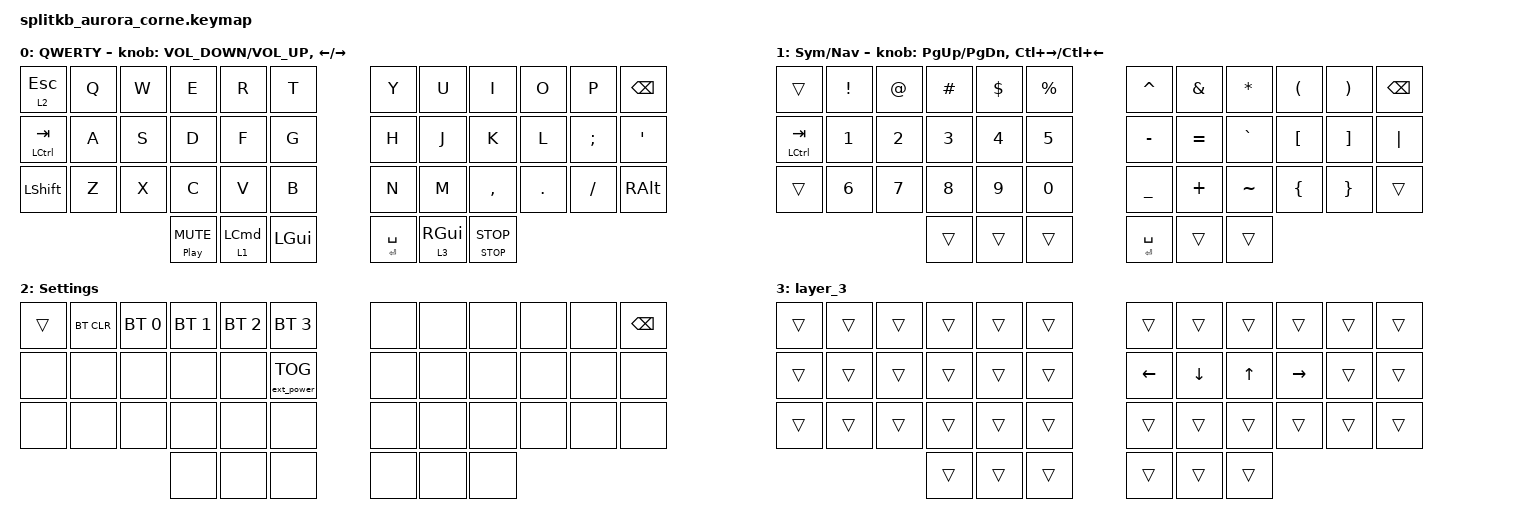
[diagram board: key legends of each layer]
#include <behaviors.dtsi>
#include <dt-bindings/zmk/bt.h>
#include <dt-bindings/zmk/ext_power.h>
#include <dt-bindings/zmk/keys.h>

// layers
// keys

#define HYPER LS(LC(LA(LGUI)))

/ {
    conditional_layers {
        compatible = "zmk,conditional-layers";
    };

    macros {
        Red_Heart: Red_Heart {
            compatible = "zmk,behavior-macro";
            #binding-cells = <0>;
            bindings = <&kp LT &kp N3 &kp SPACE>;
            label = "RED_HEART";
        };

        Heart_Eyes: Heart_Eyes {
            compatible = "zmk,behavior-macro";
            #binding-cells = <0>;
            bindings = <&kp COLON &kp H &kp E &kp A &kp R &kp T &kp UNDER &kp E &kp Y &kp E &kp S &kp COLON &kp SPACE>;
            label = "HEART_EYES";
        };

        Broken_Heart: Broken_Heart {
            compatible = "zmk,behavior-macro";
            #binding-cells = <0>;
            bindings = <&kp LT &kp FSLH &kp N3 &kp SPACE>;
            label = "BROKEN_HEART";
        };

        Face_with_Tears_of_Joy: Face_with_Tears_of_Joy {
            compatible = "zmk,behavior-macro";
            #binding-cells = <0>;
            bindings = <&kp COLON &kp J &kp O &kp Y &kp COLON &kp SPACE>;
            label = "FACE_WITH_TEARS_OF_JOY";
        };

        Smiling_Face: Smiling_Face {
            compatible = "zmk,behavior-macro";
            #binding-cells = <0>;
            bindings = <&kp COLON &kp RPAR &kp SPACE>;
            label = "SMILING_FACE";
        };

        ROFL: ROFL {
            compatible = "zmk,behavior-macro";
            #binding-cells = <0>;
            bindings = <&kp COLON &kp R &kp O &kp L &kp L &kp I &kp N &kp G &kp UNDER &kp O &kp N &kp UNDER &kp T &kp H &kp E &kp UNDER &kp F &kp L &kp O &kp O &kp R &kp UNDER &kp L &kp A &kp U &kp G &kp H &kp I &kp N &kp G &kp COLON &kp SPACE>;
            label = "ROFL";
        };

        Thumbs_up: Thumbs_up {
            compatible = "zmk,behavior-macro";
            #binding-cells = <0>;
            bindings = <&kp COLON &kp PLUS &kp N1 &kp COLON &kp SPACE>;
            label = "THUMBS_UP";
        };

        Thumbs_Down: Thumbs_Down {
            compatible = "zmk,behavior-macro";
            #binding-cells = <0>;
            bindings = <&kp COLON &kp MINUS &kp N1 &kp COLON &kp SPACE>;
            label = "THUMBS_DOWN";
        };

        Crossed_Fingers: Crossed_Fingers {
            compatible = "zmk,behavior-macro";
            #binding-cells = <0>;
            bindings = <&kp COLON &kp C &kp R &kp O &kp S &kp S &kp E &kp D &kp UNDER &kp F &kp I &kp N &kp G &kp E &kp R &kp S &kp COLON &kp SPACE>;
            label = "CROSSED_FINGERS";
        };

        Party_Popper: Party_Popper {
            compatible = "zmk,behavior-macro";
            #binding-cells = <0>;
            bindings = <&kp COLON &kp T &kp A &kp D &kp A &kp COLON &kp SPACE>;
            label = "PARTY_POPPER";
        };

        Birthday_Cake: Birthday_Cake {
            compatible = "zmk,behavior-macro";
            #binding-cells = <0>;
            bindings = <&kp COLON &kp B &kp I &kp R &kp T &kp H &kp D &kp A &kp Y &kp COLON &kp SPACE>;
            label = "BIRTHDAY_CAKE";
        };

        Party_Face: Party_Face {
            compatible = "zmk,behavior-macro";
            #binding-cells = <0>;
            bindings = <&kp COLON &kp P &kp A &kp R &kp T &kp Y &kp I &kp N &kp G &kp UNDER &kp F &kp A &kp C &kp E &kp COLON &kp SPACE>;
            label = "PARTY_FACE";
        };

        Star: Star {
            compatible = "zmk,behavior-macro";
            #binding-cells = <0>;
            bindings = <&kp COLON &kp S &kp T &kp A &kp R &kp COLON &kp SPACE>;
            label = "STAR";
        };

        Fire: Fire {
            compatible = "zmk,behavior-macro";
            #binding-cells = <0>;
            bindings = <&kp COLON &kp F &kp I &kp R &kp E &kp COLON &kp SPACE>;
            label = "FIRE";
        };

        Rainbow: Rainbow {
            compatible = "zmk,behavior-macro";
            #binding-cells = <0>;
            bindings = <&kp COLON &kp R &kp A &kp I &kp N &kp B &kp O &kp W &kp COLON &kp SPACE>;
            label = "RAINBOW";
        };

        Crying_face: Crying_face {
            compatible = "zmk,behavior-macro";
            #binding-cells = <0>;
            bindings = <&kp COLON &kp C &kp R &kp Y &kp COLON &kp SPACE>;
            label = "CRYING_FACE";
        };

        Angry_Face: Angry_Face {
            compatible = "zmk,behavior-macro";
            #binding-cells = <0>;
            bindings = <&kp COLON &kp R &kp A &kp G &kp E &kp COLON &kp SPACE>;
            label = "ANGRY_FACE";
        };

        Thinking_Face: Thinking_Face {
            compatible = "zmk,behavior-macro";
            #binding-cells = <0>;
            bindings = <&kp COLON &kp T &kp H &kp I &kp N &kp K &kp I &kp N &kp G &kp UNDER &kp F &kp A &kp C &kp E &kp COLON &kp SPACE>;
            label = "THINKING_FACE";
        };

        next_desktop: next_desktop {
            compatible = "zmk,behavior-macro";
            #binding-cells = <0>;
            bindings = <&kp LEFT_CONTROL &kp RIGHT>;
            label = "NEXT_DESKTOP";
        };

        previous_desktop: previous_desktop {
            compatible = "zmk,behavior-macro";
            #binding-cells = <0>;
            bindings = <&kp LEFT_CONTROL &kp LEFT>;
            label = "PREVIOUS_DESKTOP";
        };
    };

    behaviors {
        ht: hold_tap {
            compatible = "zmk,behavior-hold-tap";
            label = "HOLD_TAP";
            #binding-cells = <2>;
            tapping-term-ms = <200>;
            quick_tap_ms = <0>;
            flavor = "tap-preferred";
            bindings = <&kp>, <&kp>;
        };

        rotary_desktop_move: rotary_desktop_move {
            compatible = "zmk,behavior-sensor-rotate";
            label = "ROTARY_DESKTOP_MOVE";
            #sensor-binding-cells = <0>;
            bindings = <&next_desktop>, <&previous_desktop>;
        };

        sensor_rotate_var: sensor_rotate_var {
            compatible = "zmk,behavior-sensor-rotate-var";
            label = "SENSOR_ROTATE_VAR";
            #sensor-binding-cells = <2>;
            bindings = <&kp>, <&kp>;
        };
    };

    keymap {
        compatible = "zmk,keymap";

        QWERTY {
            bindings = <
&lt 2 ESCAPE    &kp Q  &kp W  &kp E                    &kp R       &kp T       &kp Y            &kp U            &kp I              &kp O    &kp P          &kp BACKSPACE
&ht LCTRL TAB   &kp A  &kp S  &kp D                    &kp F       &kp G       &kp H            &kp J            &kp K              &kp L    &kp SEMICOLON  &kp SQT
&kp LEFT_SHIFT  &kp Z  &kp X  &kp C                    &kp V       &kp B       &kp N            &kp M            &kp COMMA          &kp DOT  &kp FSLH       &kp RIGHT_ALT
                              &ht C_PLAY_PAUSE C_MUTE  &lt 1 LCMD  &kp LGUI    &ht ENTER SPACE  &lt 3 RIGHT_GUI  &ht C_STOP C_STOP
            >;

            sensor-bindings =
                <&inc_dec_kp K_VOLUME_DOWN K_VOLUME_UP>,
                <&inc_dec_kp LEFT_ARROW RIGHT_ARROW>;

            label = "QWERTY";
        };

        sym-nav {
            bindings = <
&trans         &kp EXCLAMATION  &kp AT_SIGN   &kp HASH      &kp DOLLAR    &kp PERCENT    &kp CARET        &kp AMPERSAND  &kp ASTERISK  &kp LEFT_PARENTHESIS  &kp RIGHT_PARENTHESIS  &kp BSPC
&ht LCTRL TAB  &kp NUMBER_1     &kp NUMBER_2  &kp NUMBER_3  &kp NUMBER_4  &kp N5         &kp MINUS        &kp EQUAL      &kp GRAVE     &kp LEFT_BRACKET      &kp RIGHT_BRACKET      &kp PIPE
&trans         &kp NUMBER_6     &kp N7        &kp N8        &kp N9        &kp N0         &kp UNDERSCORE   &kp PLUS       &kp TILDE     &kp LEFT_BRACE        &kp RIGHT_BRACE        &trans
                                              &trans        &trans        &trans         &ht ENTER SPACE  &trans         &trans
            >;

            label = "Sym/Nav";
            sensor-bindings =
                <&inc_dec_kp PAGE_UP PAGE_DOWN>,
                <&inc_dec_kp LC(RIGHT_ARROW) LC(LEFT_ARROW)>;
        };

        Settings {
            bindings = <
&trans  &bt BT_CLR  &bt BT_SEL 0  &bt BT_SEL 1  &bt BT_SEL 2  &bt BT_SEL 3         &none  &none  &none  &none  &none  &kp BSPC
&none   &none       &none         &none         &none         &ext_power EP_TOG    &none  &none  &none  &none  &none  &none
&none   &none       &none         &none         &none         &none                &none  &none  &none  &none  &none  &none
                                  &none         &none         &none                &none  &none  &none
            >;

            label = "Settings ";
        };

        layer_3 {
            bindings = <
&trans  &trans  &trans  &trans  &trans  &trans    &trans    &trans    &trans        &trans     &trans  &trans
&trans  &trans  &trans  &trans  &trans  &trans    &kp LEFT  &kp DOWN  &kp UP_ARROW  &kp RIGHT  &trans  &trans
&trans  &trans  &trans  &trans  &trans  &trans    &trans    &trans    &trans        &trans     &trans  &trans
                        &trans  &trans  &trans    &trans    &trans    &trans
            >;
        };
    };
};

// template
//  ┌──┬──┬──┬──┬──┬──┐      ┌──┬──┬──┬──┬──┬──┐
//  │  │  │  │  │  │  │      │  │  │  │  │  │  │
//  ├──┼──┼──┼──┼──┼──┤      ├──┼──┼──┼──┼──┼──┤
//  │  │  │  │  │  │  │      │  │  │  │  │  │  │
//  ├──┼──┼──┼──┼──┼──┤      ├──┼──┼──┼──┼──┼──┤
//  │  │  │  │  │  │  │      │  │  │  │  │  │  │
//  └──┴──┴──┴─┬┴─┬┴─┬┴─┐   ┌┴─┬┴─┬┴─┬┴──┴──┴──┘
//             │  │  │  │   │  │  │  │
//             └──┴──┴──┘   └──┴──┴──┘
